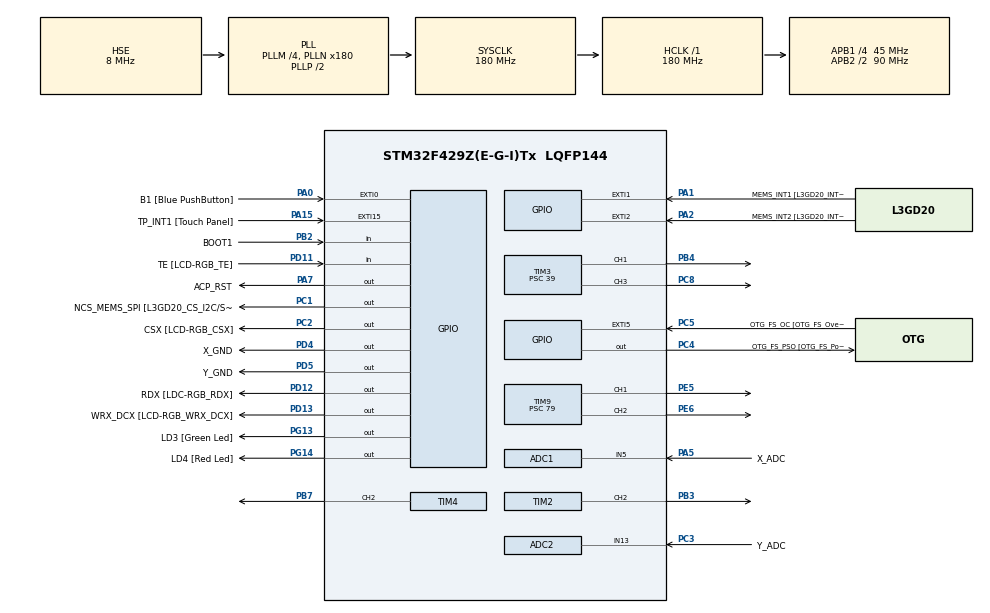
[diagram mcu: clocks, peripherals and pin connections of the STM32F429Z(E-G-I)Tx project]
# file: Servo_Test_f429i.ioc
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ADC1.Channel-0\#ChannelRegularConversion=ADC_CHANNEL_5
ADC1.ClockPrescaler=ADC_CLOCK_SYNC_PCLK_DIV8
ADC1.ContinuousConvMode=DISABLE
ADC1.DMAContinuousRequests=DISABLE
ADC1.DataAlign=ADC_DATAALIGN_RIGHT
ADC1.DiscontinuousConvMode=DISABLE
ADC1.EOCSelection=ADC_EOC_SINGLE_CONV
ADC1.EnableAnalogWatchDog=false
ADC1.ExternalTrigConv=ADC_SOFTWARE_START
ADC1.ExternalTrigConvEdge=ADC_EXTERNALTRIGCONVEDGE_NONE
ADC1.InjNumberOfConversion=0
ADC1.NbrOfConversion=1
ADC1.NbrOfConversionFlag=1
ADC1.Rank-0\#ChannelRegularConversion=1
ADC1.Resolution=ADC_RESOLUTION_12B
ADC1.SamplingTime-0\#ChannelRegularConversion=ADC_SAMPLETIME_480CYCLES
ADC1.ScanConvMode=DISABLE
ADC1.master=1
ADC2.Channel-0\#ChannelRegularConversion=ADC_CHANNEL_13
ADC2.ClockPrescaler=ADC_CLOCK_SYNC_PCLK_DIV8
ADC2.NbrOfConversionFlag=1
ADC2.Rank-0\#ChannelRegularConversion=1
ADC2.SamplingTime-0\#ChannelRegularConversion=ADC_SAMPLETIME_480CYCLES
FREERTOS.INCLUDE_vTaskDelayUntil=1
FREERTOS.Tasks01=defaultTask,0,512,StartDefaultTask,Default,NULL,Dynamic,NULL,NULL;pidTask,3,512,StartPIDTask,Default,NULL,Dynamic,NULL,NULL
FREERTOS.configTOTAL_HEAP_SIZE=20000
Mcu.Family=STM32F4
Mcu.Name=STM32F429Z(E-G-I)Tx
Mcu.Package=LQFP144
NVIC.PriorityGroup=NVIC_PRIORITYGROUP_4
NVIC.TIM7_IRQn=true\:0\:0\:false\:false\:true\:false
NVIC.TimeBase=TIM7_IRQn
NVIC.TimeBaseIP=TIM7
PA0/WKUP.GPIO_Label=B1 [Blue PushButton]
PA0/WKUP.GPIO_ModeDefaultEXTI=GPIO_MODE_EVT_RISING
PA0/WKUP.GPIO_PuPd=GPIO_NOPULL
PA0/WKUP.Signal=GPXTI0
PA1.GPIO_Label=MEMS_INT1 [L3GD20_INT1]
PA1.GPIO_ModeDefaultEXTI=GPIO_MODE_EVT_RISING
PA1.GPIO_PuPd=GPIO_NOPULL
PA1.Signal=GPXTI1
PA11.GPIO_Label=R4
PA11.GPIO_Mode=GPIO_MODE_AF_PP
PA11.GPIO_PuPd=GPIO_NOPULL
PA11.GPIO_Speed=GPIO_SPEED_FREQ_LOW
PA11.Signal=LTDC_R4
PA12.GPIO_Label=R5
PA12.GPIO_Mode=GPIO_MODE_AF_PP
PA12.GPIO_PuPd=GPIO_NOPULL
PA12.GPIO_Speed=GPIO_SPEED_FREQ_LOW
PA12.Signal=LTDC_R5
PA13.GPIO_Label=SWDIO
PA13.Signal=SYS_JTMS-SWDIO
PA14.GPIO_Label=SWCLK
PA14.Signal=SYS_JTCK-SWCLK
PA15.GPIO_Label=TP_INT1 [Touch Panel]
PA15.GPIO_ModeDefaultEXTI=GPIO_MODE_EVT_RISING
PA15.GPIO_PuPd=GPIO_NOPULL
PA15.Signal=GPXTI15
PA2.GPIO_Label=MEMS_INT2 [L3GD20_INT2]
PA2.GPIO_ModeDefaultEXTI=GPIO_MODE_EVT_RISING
PA2.GPIO_PuPd=GPIO_NOPULL
PA2.Signal=GPXTI2
PA3.GPIO_Label=B5
PA3.GPIO_Mode=GPIO_MODE_AF_PP
PA3.GPIO_PuPd=GPIO_NOPULL
PA3.GPIO_Speed=GPIO_SPEED_FREQ_LOW
PA3.Signal=LTDC_B5
PA4.GPIO_Label=VSYNC
PA4.GPIO_Mode=GPIO_MODE_AF_PP
PA4.GPIO_PuPd=GPIO_NOPULL
PA4.GPIO_Speed=GPIO_SPEED_FREQ_LOW
PA4.Signal=LTDC_VSYNC
PA5.GPIO_Label=X_ADC
PA5.Signal=ADCx_IN5
PA6.GPIO_Label=G2
PA6.GPIO_Mode=GPIO_MODE_AF_PP
PA6.GPIO_PuPd=GPIO_NOPULL
PA6.GPIO_Speed=GPIO_SPEED_FREQ_LOW
PA6.Signal=LTDC_G2
PA7.GPIO_Label=ACP_RST
PA7.GPIO_Mode=GPIO_MODE_OUTPUT_PP
PA7.GPIO_PuPd=GPIO_NOPULL
PA7.GPIO_Speed=GPIO_SPEED_FREQ_LOW
PA7.Signal=GPIO_Output
PA8.GPIO_Label=I2C3_SCL [ACP/RF_SCL]
PA8.GPIO_Mode=GPIO_MODE_AF_OD
PA8.GPIO_PuPd=GPIO_NOPULL
PA8.GPIO_Speed=GPIO_SPEED_FREQ_LOW
PA8.Signal=I2C3_SCL
PB0.GPIO_Label=R3
PB0.GPIO_Mode=GPIO_MODE_AF_PP
PB0.GPIO_PuPd=GPIO_NOPULL
PB0.GPIO_Speed=GPIO_SPEED_FREQ_LOW
PB0.Signal=LTDC_R3
PB1.GPIO_Label=R6
PB1.GPIO_Mode=GPIO_MODE_AF_PP
PB1.GPIO_PuPd=GPIO_NOPULL
PB1.GPIO_Speed=GPIO_SPEED_FREQ_LOW
PB1.Signal=LTDC_R6
PB10.GPIO_Label=G4
PB10.GPIO_Mode=GPIO_MODE_AF_PP
PB10.GPIO_PuPd=GPIO_NOPULL
PB10.GPIO_Speed=GPIO_SPEED_FREQ_LOW
PB10.Signal=LTDC_G4
PB11.GPIO_Label=G5
PB11.GPIO_Mode=GPIO_MODE_AF_PP
PB11.GPIO_PuPd=GPIO_NOPULL
PB11.GPIO_Speed=GPIO_SPEED_FREQ_LOW
PB11.Signal=LTDC_G5
PB12.GPIO_Label=OTG_FS_ID
PB12.GPIO_Mode=GPIO_MODE_AF_PP
PB12.GPIO_PuPd=GPIO_NOPULL
PB12.GPIO_Speed=GPIO_SPEED_FREQ_LOW
PB12.Signal=USB_OTG_HS_ID
PB13.GPIO_Label=VBUS_FS
PB13.GPIO_Mode=GPIO_MODE_INPUT
PB13.GPIO_PuPd=GPIO_NOPULL
PB13.Signal=USB_OTG_HS_VBUS
PB14.GPIO_Label=OTG_FS_DM
PB14.GPIO_Mode=GPIO_MODE_AF_PP
PB14.GPIO_PuPd=GPIO_NOPULL
PB14.GPIO_Speed=GPIO_SPEED_FREQ_LOW
PB14.Signal=USB_OTG_HS_DM
PB15.GPIO_Label=OTG_FS_DP
PB15.GPIO_Mode=GPIO_MODE_AF_PP
PB15.GPIO_PuPd=GPIO_NOPULL
PB15.GPIO_Speed=GPIO_SPEED_FREQ_LOW
PB15.Signal=USB_OTG_HS_DP
PB2/BOOT1.GPIO_Label=BOOT1
PB2/BOOT1.GPIO_Mode=GPIO_MODE_INPUT
PB2/BOOT1.GPIO_PuPd=GPIO_NOPULL
PB2/BOOT1.Signal=GPIO_Input
PB3.Signal=S_TIM2_CH2
PB4.Signal=S_TIM3_CH1
PB5.GPIO_Label=SDCKE1
PB5.GPIO_Mode=GPIO_MODE_AF_PP
PB5.GPIO_PuPd=GPIO_NOPULL
PB5.GPIO_Speed=GPIO_SPEED_FREQ_VERY_HIGH
PB5.Signal=FMC_SDCKE1
PB6.GPIO_Label=SDNE1 [SDRAM_CS]
PB6.GPIO_Mode=GPIO_MODE_AF_PP
PB6.GPIO_PuPd=GPIO_NOPULL
PB6.GPIO_Speed=GPIO_SPEED_FREQ_VERY_HIGH
PB6.Signal=FMC_SDNE1
PB7.Signal=S_TIM4_CH2
PB8.GPIO_Label=B6
PB8.GPIO_Mode=GPIO_MODE_AF_PP
PB8.GPIO_PuPd=GPIO_NOPULL
PB8.GPIO_Speed=GPIO_SPEED_FREQ_LOW
PB8.Signal=LTDC_B6
PB9.GPIO_Label=B7
PB9.GPIO_Mode=GPIO_MODE_AF_PP
PB9.GPIO_PuPd=GPIO_NOPULL
PB9.GPIO_Speed=GPIO_SPEED_FREQ_LOW
PB9.Signal=LTDC_B7
PC0.GPIO_Label=SDNWE
PC0.GPIO_Mode=GPIO_MODE_AF_PP
PC0.GPIO_PuPd=GPIO_NOPULL
PC0.GPIO_Speed=GPIO_SPEED_FREQ_VERY_HIGH
PC0.Signal=FMC_SDNWE
PC1.GPIO_Label=NCS_MEMS_SPI [L3GD20_CS_I2C/SPI]
PC1.GPIO_Mode=GPIO_MODE_OUTPUT_PP
PC1.GPIO_PuPd=GPIO_NOPULL
PC1.GPIO_Speed=GPIO_SPEED_FREQ_LOW
PC1.Signal=GPIO_Output
PC10.GPIO_Label=R2
PC10.GPIO_Mode=GPIO_MODE_AF_PP
PC10.GPIO_PuPd=GPIO_NOPULL
PC10.GPIO_Speed=GPIO_SPEED_FREQ_LOW
PC10.Signal=LTDC_R2
PC14/OSC32_IN.GPIO_Label=PC14-OSC32_IN
PC14/OSC32_IN.Signal=RCC_OSC32_IN
PC15/OSC32_OUT.GPIO_Label=PC15-OSC32_OUT
PC15/OSC32_OUT.Signal=RCC_OSC32_OUT
PC2.GPIO_Label=CSX [LCD-RGB_CSX]
PC2.GPIO_Mode=GPIO_MODE_OUTPUT_PP
PC2.GPIO_PuPd=GPIO_NOPULL
PC2.GPIO_Speed=GPIO_SPEED_FREQ_LOW
PC2.Signal=GPIO_Output
PC3.GPIO_Label=Y_ADC
PC3.Signal=ADCx_IN13
PC4.GPIO_Label=OTG_FS_PSO [OTG_FS_PowerSwitchOn]
PC4.GPIO_Mode=GPIO_MODE_OUTPUT_PP
PC4.GPIO_PuPd=GPIO_NOPULL
PC4.GPIO_Speed=GPIO_SPEED_FREQ_LOW
PC4.Signal=GPIO_Output
PC5.GPIO_Label=OTG_FS_OC [OTG_FS_OverCurrent]
PC5.GPIO_ModeDefaultEXTI=GPIO_MODE_EVT_RISING
PC5.Signal=GPXTI5
PC6.GPIO_Label=HSYNC
PC6.GPIO_Mode=GPIO_MODE_AF_PP
PC6.GPIO_PuPd=GPIO_NOPULL
PC6.GPIO_Speed=GPIO_SPEED_FREQ_LOW
PC6.Signal=LTDC_HSYNC
PC7.GPIO_Label=G6
PC7.GPIO_Mode=GPIO_MODE_AF_PP
PC7.GPIO_PuPd=GPIO_NOPULL
PC7.GPIO_Speed=GPIO_SPEED_FREQ_LOW
PC7.Signal=LTDC_G6
PC8.Signal=S_TIM3_CH3
PC9.GPIO_Label=I2C3_SDA [ACP/RF_SDA]
PC9.GPIO_Mode=GPIO_MODE_AF_OD
PC9.GPIO_PuPd=GPIO_NOPULL
PC9.GPIO_Speed=GPIO_SPEED_FREQ_LOW
PC9.Signal=I2C3_SDA
PD0.GPIO_Label=D2
PD0.GPIO_Mode=GPIO_MODE_AF_PP
PD0.GPIO_PuPd=GPIO_NOPULL
PD0.GPIO_Speed=GPIO_SPEED_FREQ_VERY_HIGH
PD0.Signal=FMC_D2_DA2
PD1.GPIO_Label=D3
PD1.GPIO_Mode=GPIO_MODE_AF_PP
PD1.GPIO_PuPd=GPIO_NOPULL
PD1.GPIO_Speed=GPIO_SPEED_FREQ_VERY_HIGH
PD1.Signal=FMC_D3_DA3
PD10.GPIO_Label=D15
PD10.GPIO_Mode=GPIO_MODE_AF_PP
PD10.GPIO_PuPd=GPIO_NOPULL
PD10.GPIO_Speed=GPIO_SPEED_FREQ_VERY_HIGH
PD10.Signal=FMC_D15_DA15
PD11.GPIO_Label=TE [LCD-RGB_TE]
PD11.GPIO_Mode=GPIO_MODE_INPUT
PD11.GPIO_PuPd=GPIO_NOPULL
PD11.Signal=GPIO_Input
PD12.GPIO_Label=RDX [LDC-RGB_RDX]
PD12.GPIO_Mode=GPIO_MODE_OUTPUT_PP
PD12.GPIO_PuPd=GPIO_NOPULL
PD12.GPIO_Speed=GPIO_SPEED_FREQ_LOW
PD12.Signal=GPIO_Output
PD13.GPIO_Label=WRX_DCX [LCD-RGB_WRX_DCX]
PD13.GPIO_Mode=GPIO_MODE_OUTPUT_PP
PD13.GPIO_PuPd=GPIO_NOPULL
PD13.GPIO_Speed=GPIO_SPEED_FREQ_LOW
PD13.Signal=GPIO_Output
PD14.GPIO_Label=D0
PD14.GPIO_Mode=GPIO_MODE_AF_PP
PD14.GPIO_PuPd=GPIO_NOPULL
PD14.GPIO_Speed=GPIO_SPEED_FREQ_VERY_HIGH
PD14.Signal=FMC_D0_DA0
PD15.GPIO_Label=D1
PD15.GPIO_Mode=GPIO_MODE_AF_PP
PD15.GPIO_PuPd=GPIO_NOPULL
PD15.GPIO_Speed=GPIO_SPEED_FREQ_VERY_HIGH
PD15.Signal=FMC_D1_DA1
PD3.GPIO_Label=G7
PD3.GPIO_Mode=GPIO_MODE_AF_PP
PD3.GPIO_PuPd=GPIO_NOPULL
PD3.GPIO_Speed=GPIO_SPEED_FREQ_LOW
PD3.Signal=LTDC_G7
PD4.GPIO_Label=X_GND
PD4.Signal=GPIO_Output
PD5.GPIO_Label=Y_GND
PD5.Signal=GPIO_Output
PD6.GPIO_Label=B2
PD6.GPIO_Mode=GPIO_MODE_AF_PP
PD6.GPIO_PuPd=GPIO_NOPULL
PD6.GPIO_Speed=GPIO_SPEED_FREQ_LOW
PD6.Signal=LTDC_B2
PD8.GPIO_Label=D13
PD8.GPIO_Mode=GPIO_MODE_AF_PP
PD8.GPIO_PuPd=GPIO_NOPULL
PD8.GPIO_Speed=GPIO_SPEED_FREQ_VERY_HIGH
PD8.Signal=FMC_D13_DA13
PD9.GPIO_Label=D14
PD9.GPIO_Mode=GPIO_MODE_AF_PP
PD9.GPIO_PuPd=GPIO_NOPULL
PD9.GPIO_Speed=GPIO_SPEED_FREQ_VERY_HIGH
PD9.Signal=FMC_D14_DA14
PE0.GPIO_Label=NBL0 [SDRAM_LDQM]
PE0.GPIO_Mode=GPIO_MODE_AF_PP
PE0.GPIO_PuPd=GPIO_NOPULL
PE0.GPIO_Speed=GPIO_SPEED_FREQ_VERY_HIGH
PE0.Signal=FMC_NBL0
PE1.GPIO_Label=NBL1 [SDRAM_UDQM]
PE1.GPIO_Mode=GPIO_MODE_AF_PP
PE1.GPIO_PuPd=GPIO_NOPULL
PE1.GPIO_Speed=GPIO_SPEED_FREQ_VERY_HIGH
PE1.Signal=FMC_NBL1
PE10.GPIO_Label=D7
PE10.GPIO_Mode=GPIO_MODE_AF_PP
PE10.GPIO_PuPd=GPIO_NOPULL
PE10.GPIO_Speed=GPIO_SPEED_FREQ_VERY_HIGH
PE10.Signal=FMC_D7_DA7
PE11.GPIO_Label=D8
PE11.GPIO_Mode=GPIO_MODE_AF_PP
PE11.GPIO_PuPd=GPIO_NOPULL
PE11.GPIO_Speed=GPIO_SPEED_FREQ_VERY_HIGH
PE11.Signal=FMC_D8_DA8
PE12.GPIO_Label=D9
PE12.GPIO_Mode=GPIO_MODE_AF_PP
PE12.GPIO_PuPd=GPIO_NOPULL
PE12.GPIO_Speed=GPIO_SPEED_FREQ_VERY_HIGH
PE12.Signal=FMC_D9_DA9
PE13.GPIO_Label=D10
PE13.GPIO_Mode=GPIO_MODE_AF_PP
PE13.GPIO_PuPd=GPIO_NOPULL
PE13.GPIO_Speed=GPIO_SPEED_FREQ_VERY_HIGH
PE13.Signal=FMC_D10_DA10
PE14.GPIO_Label=D11
PE14.GPIO_Mode=GPIO_MODE_AF_PP
PE14.GPIO_PuPd=GPIO_NOPULL
PE14.GPIO_Speed=GPIO_SPEED_FREQ_VERY_HIGH
PE14.Signal=FMC_D11_DA11
PE15.GPIO_Label=D12
PE15.GPIO_Mode=GPIO_MODE_AF_PP
PE15.GPIO_PuPd=GPIO_NOPULL
PE15.GPIO_Speed=GPIO_SPEED_FREQ_VERY_HIGH
PE15.Signal=FMC_D12_DA12
PE5.Signal=S_TIM9_CH1
PE6.Signal=S_TIM9_CH2
PE7.GPIO_Label=D4
PE7.GPIO_Mode=GPIO_MODE_AF_PP
PE7.GPIO_PuPd=GPIO_NOPULL
PE7.GPIO_Speed=GPIO_SPEED_FREQ_VERY_HIGH
PE7.Signal=FMC_D4_DA4
PE8.GPIO_Label=D5
PE8.GPIO_Mode=GPIO_MODE_AF_PP
PE8.GPIO_PuPd=GPIO_NOPULL
PE8.GPIO_Speed=GPIO_SPEED_FREQ_VERY_HIGH
PE8.Signal=FMC_D5_DA5
PE9.GPIO_Label=D6
PE9.GPIO_Mode=GPIO_MODE_AF_PP
PE9.GPIO_PuPd=GPIO_NOPULL
PE9.GPIO_Speed=GPIO_SPEED_FREQ_VERY_HIGH
PE9.Signal=FMC_D6_DA6
PF0.GPIO_Label=A0
PF0.GPIO_Mode=GPIO_MODE_AF_PP
PF0.GPIO_PuPd=GPIO_NOPULL
PF0.GPIO_Speed=GPIO_SPEED_FREQ_VERY_HIGH
PF0.Signal=FMC_A0
PF1.GPIO_Label=A1
PF1.GPIO_Mode=GPIO_MODE_AF_PP
PF1.GPIO_PuPd=GPIO_NOPULL
PF1.GPIO_Speed=GPIO_SPEED_FREQ_VERY_HIGH
PF1.Signal=FMC_A1
PF10.GPIO_Label=ENABLE [LCD-RGB_ENABLE]
PF10.GPIO_Mode=GPIO_MODE_AF_PP
PF10.GPIO_PuPd=GPIO_NOPULL
PF10.GPIO_Speed=GPIO_SPEED_FREQ_LOW
PF10.Signal=LTDC_DE
PF11.GPIO_Label=SDNRAS
PF11.GPIO_Mode=GPIO_MODE_AF_PP
PF11.GPIO_PuPd=GPIO_NOPULL
PF11.GPIO_Speed=GPIO_SPEED_FREQ_VERY_HIGH
PF11.Signal=FMC_SDNRAS
PF12.GPIO_Label=A6
PF12.GPIO_Mode=GPIO_MODE_AF_PP
PF12.GPIO_PuPd=GPIO_NOPULL
PF12.GPIO_Speed=GPIO_SPEED_FREQ_VERY_HIGH
PF12.Signal=FMC_A6
PF13.GPIO_Label=A7
PF13.GPIO_Mode=GPIO_MODE_AF_PP
PF13.GPIO_PuPd=GPIO_NOPULL
PF13.GPIO_Speed=GPIO_SPEED_FREQ_VERY_HIGH
PF13.Signal=FMC_A7
PF14.GPIO_Label=A8
PF14.GPIO_Mode=GPIO_MODE_AF_PP
PF14.GPIO_PuPd=GPIO_NOPULL
PF14.GPIO_Speed=GPIO_SPEED_FREQ_VERY_HIGH
PF14.Signal=FMC_A8
PF15.GPIO_Label=A9
PF15.GPIO_Mode=GPIO_MODE_AF_PP
PF15.GPIO_PuPd=GPIO_NOPULL
PF15.GPIO_Speed=GPIO_SPEED_FREQ_VERY_HIGH
PF15.Signal=FMC_A9
PF2.GPIO_Label=A2
PF2.GPIO_Mode=GPIO_MODE_AF_PP
PF2.GPIO_PuPd=GPIO_NOPULL
PF2.GPIO_Speed=GPIO_SPEED_FREQ_VERY_HIGH
PF2.Signal=FMC_A2
PF3.GPIO_Label=A3
PF3.GPIO_Mode=GPIO_MODE_AF_PP
PF3.GPIO_PuPd=GPIO_NOPULL
PF3.GPIO_Speed=GPIO_SPEED_FREQ_VERY_HIGH
PF3.Signal=FMC_A3
PF4.GPIO_Label=A4
PF4.GPIO_Mode=GPIO_MODE_AF_PP
PF4.GPIO_PuPd=GPIO_NOPULL
PF4.GPIO_Speed=GPIO_SPEED_FREQ_VERY_HIGH
PF4.Signal=FMC_A4
PF5.GPIO_Label=A5
PF5.GPIO_Mode=GPIO_MODE_AF_PP
PF5.GPIO_PuPd=GPIO_NOPULL
PF5.GPIO_Speed=GPIO_SPEED_FREQ_VERY_HIGH
PF5.Signal=FMC_A5
PF7.GPIO_Label=SPI5_SCK [L3GD20_SCL/SPC]
PF7.GPIO_Mode=GPIO_MODE_AF_PP
PF7.GPIO_PuPd=GPIO_NOPULL
PF7.GPIO_Speed=GPIO_SPEED_FREQ_LOW
PF7.Signal=SPI5_SCK
PF8.GPIO_Label=SPI5_MISO [L3GD20_SDO]
PF8.GPIO_Mode=GPIO_MODE_AF_PP
PF8.GPIO_PuPd=GPIO_NOPULL
PF8.GPIO_Speed=GPIO_SPEED_FREQ_LOW
PF8.Signal=SPI5_MISO
PF9.GPIO_Label=SPI5_MOSI [L3GD20_SDA/SDI/SDO]
PF9.GPIO_Mode=GPIO_MODE_AF_PP
PF9.GPIO_PuPd=GPIO_NOPULL
PF9.GPIO_Speed=GPIO_SPEED_FREQ_LOW
PF9.Signal=SPI5_MOSI
PG0.GPIO_Label=A10
PG0.GPIO_Mode=GPIO_MODE_AF_PP
PG0.GPIO_PuPd=GPIO_NOPULL
PG0.GPIO_Speed=GPIO_SPEED_FREQ_VERY_HIGH
PG0.Signal=FMC_A10
PG1.GPIO_Label=A11
PG1.GPIO_Mode=GPIO_MODE_AF_PP
PG1.GPIO_PuPd=GPIO_NOPULL
PG1.GPIO_Speed=GPIO_SPEED_FREQ_VERY_HIGH
PG1.Signal=FMC_A11
PG10.GPIO_Label=G3
PG10.GPIO_Mode=GPIO_MODE_AF_PP
PG10.GPIO_PuPd=GPIO_NOPULL
PG10.GPIO_Speed=GPIO_SPEED_FREQ_LOW
PG10.Signal=LTDC_G3
PG11.GPIO_Label=B3
PG11.GPIO_Mode=GPIO_MODE_AF_PP
PG11.GPIO_PuPd=GPIO_NOPULL
PG11.GPIO_Speed=GPIO_SPEED_FREQ_LOW
PG11.Signal=LTDC_B3
PG12.GPIO_Label=B4
PG12.GPIO_Mode=GPIO_MODE_AF_PP
PG12.GPIO_PuPd=GPIO_NOPULL
PG12.GPIO_Speed=GPIO_SPEED_FREQ_LOW
PG12.Signal=LTDC_B4
PG13.GPIO_Label=LD3 [Green Led]
PG13.GPIO_Mode=GPIO_MODE_OUTPUT_PP
PG13.GPIO_PuPd=GPIO_NOPULL
PG13.GPIO_Speed=GPIO_SPEED_FREQ_LOW
PG13.Signal=GPIO_Output
PG14.GPIO_Label=LD4 [Red Led]
PG14.GPIO_Mode=GPIO_MODE_OUTPUT_PP
PG14.GPIO_PuPd=GPIO_NOPULL
PG14.GPIO_Speed=GPIO_SPEED_FREQ_LOW
PG14.Signal=GPIO_Output
PG15.GPIO_Label=SDNCAS
PG15.GPIO_Mode=GPIO_MODE_AF_PP
PG15.GPIO_PuPd=GPIO_NOPULL
PG15.GPIO_Speed=GPIO_SPEED_FREQ_VERY_HIGH
PG15.Signal=FMC_SDNCAS
PG4.GPIO_Label=BA0
PG4.GPIO_Mode=GPIO_MODE_AF_PP
PG4.GPIO_PuPd=GPIO_NOPULL
PG4.GPIO_Speed=GPIO_SPEED_FREQ_VERY_HIGH
PG4.Signal=FMC_A14_BA0
PG5.GPIO_Label=BA1
PG5.GPIO_Mode=GPIO_MODE_AF_PP
PG5.GPIO_PuPd=GPIO_NOPULL
PG5.GPIO_Speed=GPIO_SPEED_FREQ_VERY_HIGH
PG5.Signal=FMC_A15_BA1
PG6.GPIO_Label=R7
PG6.GPIO_Mode=GPIO_MODE_AF_PP
PG6.GPIO_PuPd=GPIO_NOPULL
PG6.GPIO_Speed=GPIO_SPEED_FREQ_LOW
PG6.Signal=LTDC_R7
PG7.GPIO_Label=DOTCLK [LCT-RGB_DOTCLK]
PG7.GPIO_Mode=GPIO_MODE_AF_PP
PG7.GPIO_PuPd=GPIO_NOPULL
PG7.GPIO_Speed=GPIO_SPEED_FREQ_LOW
PG7.Signal=LTDC_CLK
PG8.GPIO_Label=SDCLK
PG8.GPIO_Mode=GPIO_MODE_AF_PP
PG8.GPIO_PuPd=GPIO_NOPULL
PG8.GPIO_Speed=GPIO_SPEED_FREQ_VERY_HIGH
PG8.Signal=FMC_SDCLK
PH0/OSC_IN.GPIO_Label=PH0-OSC_IN
PH0/OSC_IN.Mode=HSE-External-Oscillator
PH0/OSC_IN.Signal=RCC_OSC_IN
PH1/OSC_OUT.GPIO_Label=PH1-OSC_OUT
PH1/OSC_OUT.Mode=HSE-External-Oscillator
PH1/OSC_OUT.Signal=RCC_OSC_OUT
ProjectManager.HeapSize=0x200
ProjectManager.StackSize=0x400
ProjectManager.TargetToolchain=SW4STM32
RCC.48MHZClocksFreq_Value=51428571.428571425
RCC.AHBFreq_Value=180000000
RCC.APB1CLKDivider=RCC_HCLK_DIV4
RCC.APB1Freq_Value=45000000
RCC.APB1TimFreq_Value=90000000
RCC.APB2CLKDivider=RCC_HCLK_DIV2
RCC.APB2Freq_Value=90000000
RCC.APB2TimFreq_Value=180000000
RCC.CortexFreq_Value=180000000
RCC.HCLKFreq_Value=180000000
RCC.HSE_VALUE=8000000
RCC.HSI_VALUE=16000000
RCC.LSE_VALUE=32768
RCC.PLLM=4
RCC.PLLN=180
RCC.PLLQ=7
RCC.PLLSourceVirtual=RCC_PLLSOURCE_HSE
RCC.SYSCLKFreq_VALUE=180000000
RCC.SYSCLKSource=RCC_SYSCLKSOURCE_PLLCLK
RCC.VCOOutputFreq_Value=360000000
SH.ADCx_IN13.0=ADC2_IN13,IN13
SH.ADCx_IN5.0=ADC1_IN5,IN5
SH.FMC_A0.0=FMC_A0
SH.FMC_A1.0=FMC_A1
SH.FMC_A10.0=FMC_A10
SH.FMC_A11.0=FMC_A11
SH.FMC_A14_BA0.0=FMC_BA0
SH.FMC_A15_BA1.0=FMC_BA1
SH.FMC_A2.0=FMC_A2
SH.FMC_A3.0=FMC_A3
SH.FMC_A4.0=FMC_A4
SH.FMC_A5.0=FMC_A5
SH.FMC_A6.0=FMC_A6
SH.FMC_A7.0=FMC_A7
SH.FMC_A8.0=FMC_A8
SH.FMC_A9.0=FMC_A9
SH.FMC_D0_DA0.0=FMC_D0
SH.FMC_D10_DA10.0=FMC_D10
SH.FMC_D11_DA11.0=FMC_D11
SH.FMC_D12_DA12.0=FMC_D12
SH.FMC_D13_DA13.0=FMC_D13
SH.FMC_D14_DA14.0=FMC_D14
SH.FMC_D15_DA15.0=FMC_D15
SH.FMC_D1_DA1.0=FMC_D1
SH.FMC_D2_DA2.0=FMC_D2
SH.FMC_D3_DA3.0=FMC_D3
SH.FMC_D4_DA4.0=FMC_D4
SH.FMC_D5_DA5.0=FMC_D5
SH.FMC_D6_DA6.0=FMC_D6
SH.FMC_D7_DA7.0=FMC_D7
SH.FMC_D8_DA8.0=FMC_D8
SH.FMC_D9_DA9.0=FMC_D9
SH.FMC_NBL0.0=FMC_NBL0
SH.FMC_NBL1.0=FMC_NBL1
SH.FMC_SDCLK.0=FMC_SDCLK
SH.FMC_SDNCAS.0=FMC_SDNCAS
SH.FMC_SDNRAS.0=FMC_SDNRAS
SH.FMC_SDNWE.0=FMC_SDNWE
SH.S_TIM2_CH2.0=TIM2_CH2,PWM Generation2 CH2
SH.S_TIM3_CH1.0=TIM3_CH1,PWM Generation1 CH1
SH.S_TIM3_CH3.0=TIM3_CH3,PWM Generation3 CH3
SH.S_TIM4_CH2.0=TIM4_CH2,PWM Generation2 CH2
SH.S_TIM9_CH1.0=TIM9_CH1,PWM Generation1 CH1
SH.S_TIM9_CH2.0=TIM9_CH2,PWM Generation2 CH2
TIM2.Channel-PWM\ Generation2\ CH2=TIM_CHANNEL_2
TIM2.Period=44999
TIM2.Prescaler=39
TIM3.Channel-PWM\ Generation1\ CH1=TIM_CHANNEL_1
TIM3.Channel-PWM\ Generation3\ CH3=TIM_CHANNEL_3
TIM3.Period=44999
TIM3.Prescaler=39
TIM4.Channel-PWM\ Generation2\ CH2=TIM_CHANNEL_2
TIM4.Period=44999
TIM4.Prescaler=39
TIM9.Channel-PWM\ Generation1\ CH1=TIM_CHANNEL_1
TIM9.Channel-PWM\ Generation2\ CH2=TIM_CHANNEL_2
TIM9.Period=44999
TIM9.Prescaler=79
VP_FREERTOS_VS_ENABLE.Mode=Enabled
VP_SYS_VS_tim7.Mode=TIM7
board=STM32F429I-DISCO

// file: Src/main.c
/**
  ******************************************************************************
  * File Name          : main.c
  * Description        : Main program body
  ******************************************************************************
  * This notice applies to any and all portions of this file
  * that are not between comment pairs USER CODE BEGIN and
  * USER CODE END. Other portions of this file, whether
  * inserted by the user or by software development tools
  * are owned by their respective copyright owners.
  *
  * Copyright (c) 2017 STMicroelectronics International N.V.
  * All rights reserved.
  *
  * Redistribution and use in source and binary forms, with or without
  * modification, are permitted, provided that the following conditions are met:
  *
  * 1. Redistribution of source code must retain the above copyright notice,
  *    this list of conditions and the following disclaimer.
  * 2. Redistributions in binary form must reproduce the above copyright notice,
  *    this list of conditions and the following disclaimer in the documentation
  *    and/or other materials provided with the distribution.
  * 3. Neither the name of STMicroelectronics nor the names of other
  *    contributors to this software may be used to endorse or promote products
  *    derived from this software without specific written permission.
  * 4. This software, including modifications and/or derivative works of this
  *    software, must execute solely and exclusively on microcontroller or
  *    microprocessor devices manufactured by or for STMicroelectronics.
  * 5. Redistribution and use of this software other than as permitted under
  *    this license is void and will automatically terminate your rights under
  *    this license.
  *
  * THIS SOFTWARE IS PROVIDED BY STMICROELECTRONICS AND CONTRIBUTORS "AS IS"
  * AND ANY EXPRESS, IMPLIED OR STATUTORY WARRANTIES, INCLUDING, BUT NOT
  * LIMITED TO, THE IMPLIED WARRANTIES OF MERCHANTABILITY, FITNESS FOR A
  * PARTICULAR PURPOSE AND NON-INFRINGEMENT OF THIRD PARTY INTELLECTUAL PROPERTY
  * RIGHTS ARE DISCLAIMED TO THE FULLEST EXTENT PERMITTED BY LAW. IN NO EVENT
  * SHALL STMICROELECTRONICS OR CONTRIBUTORS BE LIABLE FOR ANY DIRECT, INDIRECT,
  * INCIDENTAL, SPECIAL, EXEMPLARY, OR CONSEQUENTIAL DAMAGES (INCLUDING, BUT NOT
  * LIMITED TO, PROCUREMENT OF SUBSTITUTE GOODS OR SERVICES; LOSS OF USE, DATA,
  * OR PROFITS; OR BUSINESS INTERRUPTION) HOWEVER CAUSED AND ON ANY THEORY OF
  * LIABILITY, WHETHER IN CONTRACT, STRICT LIABILITY, OR TORT (INCLUDING
  * NEGLIGENCE OR OTHERWISE) ARISING IN ANY WAY OUT OF THE USE OF THIS SOFTWARE,
  * EVEN IF ADVISED OF THE POSSIBILITY OF SUCH DAMAGE.
  *
  ******************************************************************************
  */
#include "main.h"
#include "stm32f4xx_hal.h"
#include "cmsis_os.h"
#include "adc.h"
#include "tim.h"
#include "gpio.h"

/* USER CODE BEGIN PV */
/* Private variables ---------------------------------------------------------*/

/* USER CODE END PV */

void SystemClock_Config(void);
void MX_FREERTOS_Init(void);

/* USER CODE BEGIN PFP */
/* Private function prototypes -----------------------------------------------*/

/* USER CODE END PFP */

int main(void)
{

  /* MCU Configuration----------------------------------------------------------*/

  /* Reset of all peripherals, Initializes the Flash interface and the Systick. */
  HAL_Init();

  /* Configure the system clock */
  SystemClock_Config();

  /* Initialize all configured peripherals */
  MX_GPIO_Init();
  MX_TIM2_Init();
  MX_TIM3_Init();
  MX_TIM4_Init();
  MX_TIM9_Init();
  MX_ADC1_Init();
  MX_ADC2_Init();

  /* Call init function for freertos objects (in freertos.c) */
  MX_FREERTOS_Init();

  /* Start scheduler */
  osKernelStart();

  /* We should never get here as control is now taken by the scheduler */

  /* Infinite loop */
  while (1)
  {

  }

}

/** System Clock Configuration
*/
void SystemClock_Config(void)
{

  RCC_OscInitTypeDef RCC_OscInitStruct;
  RCC_ClkInitTypeDef RCC_ClkInitStruct;

    /**Configure the main internal regulator output voltage
    */
  __HAL_RCC_PWR_CLK_ENABLE();

  __HAL_PWR_VOLTAGESCALING_CONFIG(PWR_REGULATOR_VOLTAGE_SCALE1);

    /**Initializes the CPU, AHB and APB busses clocks
    */
  RCC_OscInitStruct.OscillatorType = RCC_OSCILLATORTYPE_HSE;
  RCC_OscInitStruct.HSEState = RCC_HSE_ON;
  RCC_OscInitStruct.PLL.PLLState = RCC_PLL_ON;
  RCC_OscInitStruct.PLL.PLLSource = RCC_PLLSOURCE_HSE;
  RCC_OscInitStruct.PLL.PLLM = 4;
  RCC_OscInitStruct.PLL.PLLN = 180;
  RCC_OscInitStruct.PLL.PLLP = RCC_PLLP_DIV2;
  RCC_OscInitStruct.PLL.PLLQ = 7;
  if (HAL_RCC_OscConfig(&RCC_OscInitStruct) != HAL_OK)
  {
    _Error_Handler(__FILE__, __LINE__);
  }

    /**Activate the Over-Drive mode
    */
  if (HAL_PWREx_EnableOverDrive() != HAL_OK)
  {
    _Error_Handler(__FILE__, __LINE__);
  }

    /**Initializes the CPU, AHB and APB busses clocks
    */
  RCC_ClkInitStruct.ClockType = RCC_CLOCKTYPE_HCLK|RCC_CLOCKTYPE_SYSCLK
                              |RCC_CLOCKTYPE_PCLK1|RCC_CLOCKTYPE_PCLK2;
  RCC_ClkInitStruct.SYSCLKSource = RCC_SYSCLKSOURCE_PLLCLK;
  RCC_ClkInitStruct.AHBCLKDivider = RCC_SYSCLK_DIV1;
  RCC_ClkInitStruct.APB1CLKDivider = RCC_HCLK_DIV4;
  RCC_ClkInitStruct.APB2CLKDivider = RCC_HCLK_DIV2;

  if (HAL_RCC_ClockConfig(&RCC_ClkInitStruct, FLASH_LATENCY_5) != HAL_OK)
  {
    _Error_Handler(__FILE__, __LINE__);
  }

    /**Configure the Systick interrupt time
    */
  HAL_SYSTICK_Config(HAL_RCC_GetHCLKFreq()/1000);

    /**Configure the Systick
    */
  HAL_SYSTICK_CLKSourceConfig(SYSTICK_CLKSOURCE_HCLK);

  /* SysTick_IRQn interrupt configuration */
  HAL_NVIC_SetPriority(SysTick_IRQn, 15, 0);
}

void HAL_TIM_PeriodElapsedCallback(TIM_HandleTypeDef *htim)
{
  if (htim->Instance == TIM7) {
    HAL_IncTick();
  }
}

void _Error_Handler(char * file, int line)
{
  while(1)
  {
  }
}

/************************ (C) COPYRIGHT STMicroelectronics *****END OF FILE****/

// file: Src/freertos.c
/**
  ******************************************************************************
  * File Name          : freertos.c
  * Description        : Code for freertos applications
  ******************************************************************************
  * This notice applies to any and all portions of this file
  * that are not between comment pairs USER CODE BEGIN and
  * USER CODE END. Other portions of this file, whether
  * inserted by the user or by software development tools
  * are owned by their respective copyright owners.
  *
  * Copyright (c) 2017 STMicroelectronics International N.V.
  * All rights reserved.
  *
  * Redistribution and use in source and binary forms, with or without
  * modification, are permitted, provided that the following conditions are met:
  *
  * 1. Redistribution of source code must retain the above copyright notice,
  *    this list of conditions and the following disclaimer.
  * 2. Redistributions in binary form must reproduce the above copyright notice,
  *    this list of conditions and the following disclaimer in the documentation
  *    and/or other materials provided with the distribution.
  * 3. Neither the name of STMicroelectronics nor the names of other
  *    contributors to this software may be used to endorse or promote products
  *    derived from this software without specific written permission.
  * 4. This software, including modifications and/or derivative works of this
  *    software, must execute solely and exclusively on microcontroller or
  *    microprocessor devices manufactured by or for STMicroelectronics.
  * 5. Redistribution and use of this software other than as permitted under
  *    this license is void and will automatically terminate your rights under
  *    this license.
  *
  * THIS SOFTWARE IS PROVIDED BY STMICROELECTRONICS AND CONTRIBUTORS "AS IS"
  * AND ANY EXPRESS, IMPLIED OR STATUTORY WARRANTIES, INCLUDING, BUT NOT
  * LIMITED TO, THE IMPLIED WARRANTIES OF MERCHANTABILITY, FITNESS FOR A
  * PARTICULAR PURPOSE AND NON-INFRINGEMENT OF THIRD PARTY INTELLECTUAL PROPERTY
  * RIGHTS ARE DISCLAIMED TO THE FULLEST EXTENT PERMITTED BY LAW. IN NO EVENT
  * SHALL STMICROELECTRONICS OR CONTRIBUTORS BE LIABLE FOR ANY DIRECT, INDIRECT,
  * INCIDENTAL, SPECIAL, EXEMPLARY, OR CONSEQUENTIAL DAMAGES (INCLUDING, BUT NOT
  * LIMITED TO, PROCUREMENT OF SUBSTITUTE GOODS OR SERVICES; LOSS OF USE, DATA,
  * OR PROFITS; OR BUSINESS INTERRUPTION) HOWEVER CAUSED AND ON ANY THEORY OF
  * LIABILITY, WHETHER IN CONTRACT, STRICT LIABILITY, OR TORT (INCLUDING
  * NEGLIGENCE OR OTHERWISE) ARISING IN ANY WAY OUT OF THE USE OF THIS SOFTWARE,
  * EVEN IF ADVISED OF THE POSSIBILITY OF SUCH DAMAGE.
  *
  ******************************************************************************
  */

#include "FreeRTOS.h"
#include "task.h"
#include "cmsis_os.h"

/* USER CODE BEGIN Includes */
#ifdef __cplusplus
extern "C" {
#endif

#include "main.h"
#include "stm32f4xx_hal.h"
#include "cmsis_os.h"
#include "tim.h"
#include "gpio.h"
#include "adc.h"

#ifdef __cplusplus
}
#endif

#include "PlatformController/PlatformController.hpp"
#include "TouchPanel/TouchPanel_4W/TouchPanel_4W.hpp"
#include "PID/ParallelPID/ParallelPID.hpp"
#include "Ball_Control/DOF.h"

/* USER CODE END Includes */

osThreadId defaultTaskHandle;
osThreadId pidTaskHandle;

/* USER CODE BEGIN Variables */

Servo Servos[6] = {

		Servo(&htim4,TIM_CHANNEL_2),	// PB7 - Niebieski

		Servo(&htim3,TIM_CHANNEL_1),	// PB4 - Pomara�czowy
		Servo(&htim2,TIM_CHANNEL_2),	// PB3 - Fioletowy

		Servo(&htim9,TIM_CHANNEL_2), 	// PE6 - Br�zowy
		Servo(&htim9,TIM_CHANNEL_1),	// PE5 - ��ty

		Servo(&htim3,TIM_CHANNEL_3),	// PC8 - Bia�y

};
Steward_Struct Steward = {
		{ 0.075, 	0.5236 	}, // Base_Struct {r , alpha}
		{ 0.05,		1.7453	}, // Platform_Struct {r , alpha}
		{ 0.01653,	0.095	}  // Drive_Struct {a , s}
};
PlatformController Controller(Servos,&Steward);
RollDOF Roll(Controller);
PitchDOF Pitch(Controller);

AnalogPin 	XAnalog(&hadc1,X_ADC_GPIO_Port,X_ADC_Pin);
AnalogPin 	YAnalog(&hadc2,Y_ADC_GPIO_Port,Y_ADC_Pin);
Pin			XGnd(X_GND_GPIO_Port,X_GND_Pin);
Pin			YGnd(Y_GND_GPIO_Port,Y_GND_Pin);
TouchPanel4W Panel(XAnalog,XGnd,YAnalog,YGnd);
XPlate XPos(Panel);
//YPlate YPos(Panel);

float kp = -0.00001;
float ki = 0;
float kd = 0;
float dt = 0.015;
float setpoint = 0;
ParallelPID XPid(kp,ki,kd,dt,&XPos,&Roll);

float X,Y;
int td,prev_td,td_inc;

float x,y,z,roll,pitch,yaw;
/* USER CODE END Variables */

void StartDefaultTask(void const * argument);
void StartPIDTask(void const * argument);

void MX_FREERTOS_Init(void); /* (MISRA C 2004 rule 8.1) */

/* USER CODE BEGIN FunctionPrototypes */
void StartProcedure(void);
void TouchPanelTask( void const * argument);
/* USER CODE END FunctionPrototypes */

/* Hook prototypes */

/* Init FreeRTOS */

void MX_FREERTOS_Init(void) {

  /* Create the thread(s) */
  /* definition and creation of defaultTask */
  osThreadDef(defaultTask, StartDefaultTask, osPriorityNormal, 0, 512);
  defaultTaskHandle = osThreadCreate(osThread(defaultTask), NULL);

  /* definition and creation of pidTask */
  osThreadDef(pidTask, StartPIDTask, osPriorityRealtime, 0, 512);
  pidTaskHandle = osThreadCreate(osThread(pidTask), NULL);

  /* USER CODE BEGIN RTOS_THREADS */
	/* add threads, ... */
	osThreadDef(touchPanelTask, TouchPanelTask, osPriorityAboveNormal, 0, 512);
	osThreadCreate(osThread(touchPanelTask), NULL);

  /* USER CODE END RTOS_THREADS */

}

/* StartDefaultTask function */
void StartDefaultTask(void const * argument)
{

  /* USER CODE BEGIN StartDefaultTask */

	StartProcedure();

	XPid.Start();

	/* Infinite loop */
	for(;;)
	{
		prev_td = td;

		td = Panel.IsTouched();

		if( (prev_td == true) && (td == false) ) td_inc++;

		if(td){
			X = Panel.GetX();
			Y = Panel.GetY();
		}else{
			X = 0;
			Y = 0;
		}

		XPid.Tune(kp,ki,kd);
		XPid.SetInput(setpoint);

		Roll.Set(roll);
//		Pitch.Set(pitch);

//		uint8_t i = 0;
//		q[i++] = X/500.0;
//		q[i++] = Y/500.0;
//		q[i++] = z;
//		q[i++] = roll;
//		q[i++] = pitch;
//		q[i++] = yaw;
//
//		Controller.Move(q);

		osDelay(10);
	}
  /* USER CODE END StartDefaultTask */
}

/* StartPIDTask function */
void StartPIDTask(void const * argument)
{
  /* USER CODE BEGIN StartPIDTask */
	 const TickType_t xFrequency = 20;

	// TickType_t xLastWakeTime = xTaskGetTickCount(); // Initialise the xLastWakeTime variable with the current time.

	while(true){
//		Panel.Process();
		XPid.Process();
		osDelay(xFrequency);
	}
  /* USER CODE END StartPIDTask */
}

/* USER CODE BEGIN Application */

void TouchPanelTask( void const * argument){
	 const TickType_t xFrequency = 10;

	 TickType_t xLastWakeTime = xTaskGetTickCount(); // Initialise the xLastWakeTime variable with the current time.

	while(true){
		Panel.Process();
//		XPid.Process();
		osDelayUntil(&xLastWakeTime,xFrequency);
	}
}

void StartProcedure(void){
	Controller.Start();
	float q[6] = {0,0,0,0,0,0};
	Controller.Move(q);
	osDelay(500);
	q[2] = -0.005;
	Controller.Move(q);
	osDelay(500);
	q[2] = 0;
	Controller.Move(q);
	osDelay(500);

}

/* USER CODE END Application */

/************************ (C) COPYRIGHT STMicroelectronics *****END OF FILE****/
